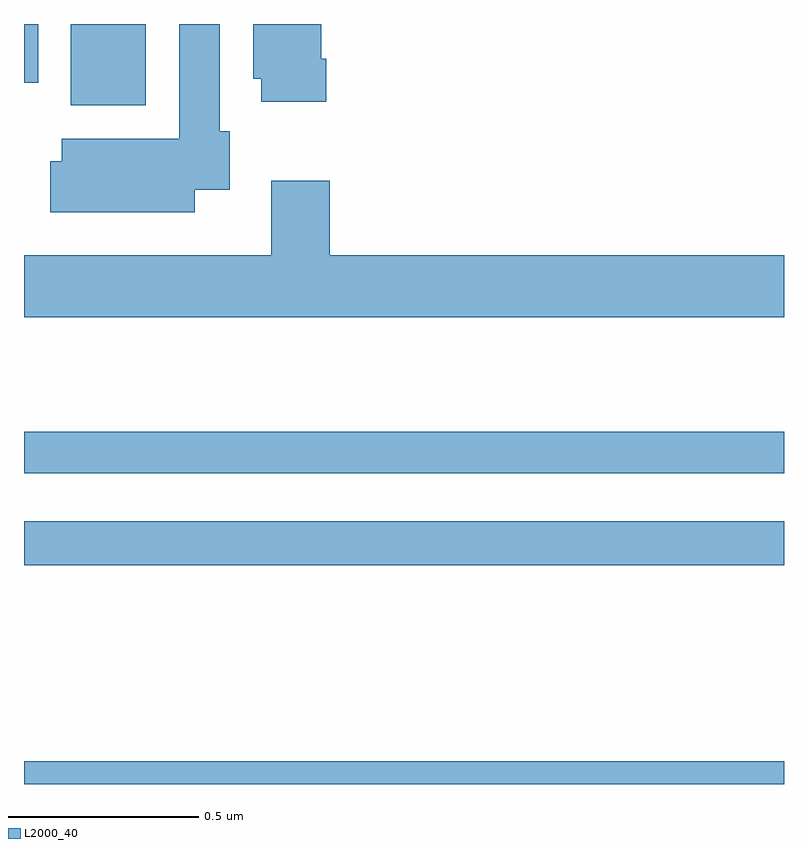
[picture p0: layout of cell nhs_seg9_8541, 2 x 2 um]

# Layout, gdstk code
import gdstk
lib = gdstk.Library(unit=1e-6, precision=1e-09)
def R(c, l, rs):  # rectangles x0, y0, x1, y1
    for r in rs: c.add(gdstk.rectangle(r[:2], r[2:], *l))
def P(c, l, *ps):  # polygons
    for p in ps: c.add(gdstk.Polygon(p, *l))
L2000_40 = (2000, 40)

nhs_seg9_8541 = lib.new_cell('nhs_seg9_8541')
R(nhs_seg9_8541, L2000_40, [(218,1220.5,220,1220.56), (218,1221.076,220,1221.192), (218,1221.318,220,1221.427), (218.123,1222.286,218.32,1222.5), (218,1222.345,218.038,1222.5)])
P(nhs_seg9_8541, L2000_40, [(218.449,1222.064),(218.542,1222.064),(218.542,1222.218),(218.515,1222.218),(218.515,1222.5),(218.408,1222.5),(218.408,1222.198),(218.099,1222.198),(218.099,1222.139),(218.069,1222.139),(218.069,1222.004),(218.449,1222.004)],
  [(218.795,1222.408),(218.782,1222.408),(218.782,1222.5),(218.603,1222.5),(218.603,1222.356),(218.624,1222.356),(218.624,1222.296),(218.795,1222.296)],
  [(220,1221.892),(218.804,1221.892),(218.804,1222.087),(218.651,1222.087),(218.651,1221.892),(218,1221.892),(218,1221.728),(220,1221.728)])

lib.write_gds('nhs_seg9_8541.gds')
